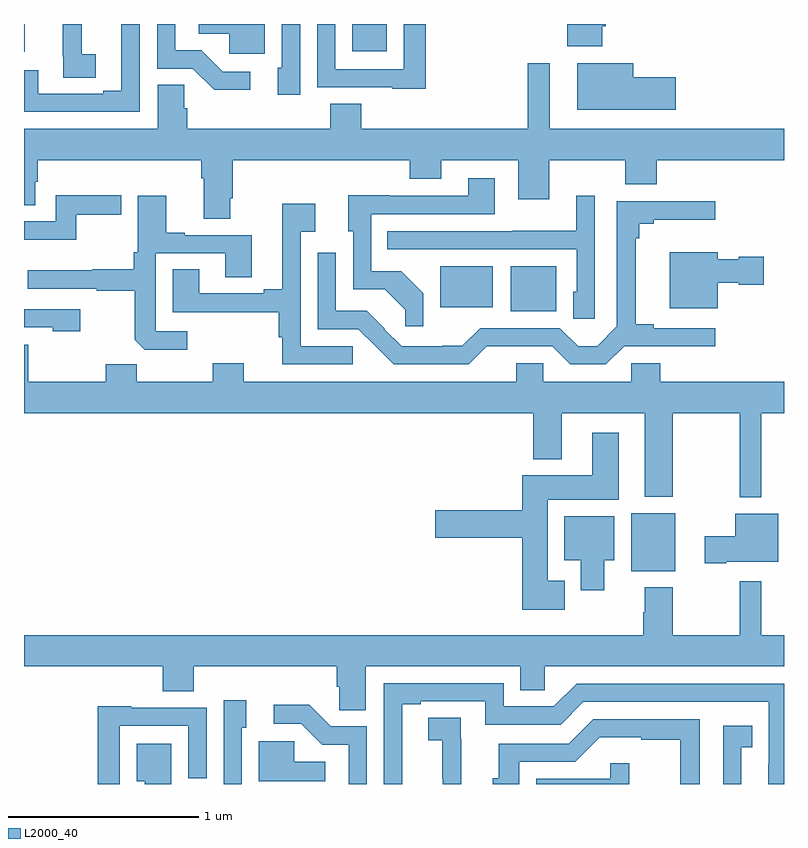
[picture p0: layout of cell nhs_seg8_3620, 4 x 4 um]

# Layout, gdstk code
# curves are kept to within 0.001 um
import gdstk
lib = gdstk.Library(unit=1e-6, precision=1e-09)
def R(c, l, rs):  # rectangles x0, y0, x1, y1
    for r in rs: c.add(gdstk.rectangle(r[:2], r[2:], *l))
def P(c, l, *ps):  # polygons
    for p in ps: c.add(gdstk.Polygon(p, *l))
L2000_40 = (2000, 40)

nhs_seg8_3620 = lib.new_cell('nhs_seg8_3620')
R(nhs_seg8_3620, L2000_40, [(338.195,1097.021,338.428,1097.326), (337.562,1098.389,337.801,1098.625), (337.19,1098.41,337.468,1098.625), (335,1099.755,335.005,1099.9), (336.728,1099.757,336.91,1099.9)])
P(nhs_seg8_3620, L2000_40, [(338.043,1099.888),(338.063,1099.888),(338.063,1099.9),(337.86,1099.9),(337.86,1099.784),(338.043,1099.784)],
  [(337.115,1099.9),(336.999,1099.9),(336.999,1099.662),(336.639,1099.662),(336.639,1099.9),(336.543,1099.9),(336.543,1099.566),(336.939,1099.566),(336.939,1099.559),(337.115,1099.559)],
  [(336.19,1099.65),(336.045,1099.65),(335.934,1099.761),(335.796,1099.761),(335.796,1099.9),(335.7,1099.9),(335.7,1099.665),(335.889,1099.665),(336.002,1099.553),(336.19,1099.553)],
  [(336.268,1099.9),(335.919,1099.9),(335.919,1099.85),(336.081,1099.85),(336.081,1099.743),(336.268,1099.743)],
  [(335.61,1099.9),(335.513,1099.9),(335.513,1099.548),(335.417,1099.548),(335.417,1099.533),(335.076,1099.533),(335.076,1099.656),(335,1099.656),(335,1099.437),(335.61,1099.437)],
  [(336.453,1099.9),(336.357,1099.9),(336.357,1099.671),(336.335,1099.671),(336.335,1099.527),(336.453,1099.527)],
  [(335.377,1099.74),(335.303,1099.74),(335.303,1099.9),(335.204,1099.9),(335.204,1099.729),(335.206,1099.729),(335.206,1099.618),(335.377,1099.618)],
  [(338.431,1099.619),(338.206,1099.619),(338.206,1099.693),(337.913,1099.693),(337.913,1099.448),(338.431,1099.448)],
  [(336.085,1098.982),(336.098,1098.982),(336.098,1099.184),(337.031,1099.184),(337.031,1099.085),(337.195,1099.085),(337.195,1099.184),(337.601,1099.184),(337.601,1098.978),(337.765,1098.978),(337.765,1099.184),(338.165,1099.184),(338.165,1099.056),(338.329,1099.056),(338.329,1099.184),(339,1099.184),(339,1099.348),(337.768,1099.348),(337.768,1099.693),(337.651,1099.693),(337.651,1099.348),(336.776,1099.348),(336.776,1099.481),(336.611,1099.481),(336.611,1099.348),(335.858,1099.348),(335.858,1099.457),(335.844,1099.457),(335.844,1099.58),(335.705,1099.58),(335.705,1099.348),(335,1099.348),(335,1098.946),(335.059,1098.946),(335.059,1099.071),(335.072,1099.071),(335.072,1099.184),(335.933,1099.184),(335.933,1099.088),(335.945,1099.088),(335.945,1098.874),(336.085,1098.874)],
  [(337.101,1098.484),(336.985,1098.6),(336.828,1098.6),(336.828,1098.9),(337.477,1098.9),(337.477,1099.087),(337.337,1099.087),(337.337,1098.996),(336.925,1098.996),(336.925,1098.998),(336.707,1098.998),(336.707,1098.81),(336.732,1098.81),(336.732,1098.504),(336.898,1098.504),(337.006,1098.396),(337.006,1098.309),(337.101,1098.309)],
  [(335.275,1098.895),(335.512,1098.895),(335.512,1098.998),(335.166,1098.998),(335.166,1098.861),(335,1098.861),(335,1098.764),(335.275,1098.764)],
  [(338.004,1098.997),(337.907,1098.997),(337.907,1098.811),(337.573,1098.811),(337.573,1098.81),(336.913,1098.81),(336.913,1098.714),(337.908,1098.714),(337.908,1098.492),(337.892,1098.492),(337.892,1098.349),(338.004,1098.349)],
  [(335.86,1098.282),(335.694,1098.282),(335.694,1098.693),(336.059,1098.693),(336.059,1098.568),(336.199,1098.568),(336.199,1098.789),(335.845,1098.789),(335.845,1098.802),(335.749,1098.802),(335.749,1098.997),(335.598,1098.997),(335.598,1098.7),(335.578,1098.7),(335.578,1098.608),(335.359,1098.608),(335.359,1098.604),(335.019,1098.604),(335.019,1098.507),(335.383,1098.507),(335.383,1098.495),(335.583,1098.495),(335.583,1098.237),(335.635,1098.186),(335.86,1098.186)],
  [(337.436,1098.203),(337.779,1098.204),(337.875,1098.108),(338.062,1098.108),(338.158,1098.204),(338.638,1098.203),(338.638,1098.3),(338.314,1098.3),(338.314,1098.32),(338.219,1098.32),(338.219,1098.773),(338.237,1098.773),(338.237,1098.85),(338.314,1098.85),(338.314,1098.869),(338.638,1098.869),(338.638,1098.968),(338.425,1098.968),(338.425,1098.966),(338.121,1098.966),(338.121,1098.309),(338.017,1098.205),(337.916,1098.205),(337.821,1098.3),(337.401,1098.3),(337.307,1098.206),(337.202,1098.206),(337.202,1098.204),(336.987,1098.204),(336.897,1098.294),(336.899,1098.296),(336.805,1098.39),(336.642,1098.39),(336.642,1098.697),(336.546,1098.697),(336.546,1098.294),(336.759,1098.294),(336.947,1098.108),(337.341,1098.108)],
  [(336.729,1098.204),(336.456,1098.204),(336.456,1098.806),(336.532,1098.806),(336.532,1098.955),(336.359,1098.955),(336.359,1098.503),(336.263,1098.503),(336.263,1098.483),(335.923,1098.483),(335.923,1098.608),(335.783,1098.608),(335.783,1098.382),(336.34,1098.382),(336.34,1098.251),(336.359,1098.251),(336.359,1098.108),(336.729,1098.108)],
  [(338.65,1098.539),(338.763,1098.539),(338.763,1098.527),(338.893,1098.527),(338.893,1098.674),(338.763,1098.674),(338.763,1098.661),(338.65,1098.661),(338.65,1098.7),(338.399,1098.7),(338.399,1098.404),(338.65,1098.404)],
  [(335.296,1098.399),(335,1098.399),(335,1098.303),(335.151,1098.303),(335.151,1098.284),(335.296,1098.284)],
  [(338.348,1098.114),(338.196,1098.114),(338.196,1098.016),(337.734,1098.016),(337.734,1098.114),(337.592,1098.114),(337.592,1098.016),(336.157,1098.016),(336.157,1098.115),(335.993,1098.115),(335.993,1098.016),(335.593,1098.016),(335.593,1098.109),(335.429,1098.109),(335.429,1098.016),(335.023,1098.016),(335.023,1098.211),(335,1098.211),(335,1097.852),(337.679,1097.852),(337.679,1097.609),(337.831,1097.609),(337.831,1097.852),(338.267,1097.852),(338.267,1097.411),(338.415,1097.411),(338.415,1097.852),(338.767,1097.852),(338.767,1097.408),(338.881,1097.408),(338.881,1097.852),(339,1097.852),(339,1098.016),(338.348,1098.016)],
  [(337.846,1096.969),(337.756,1096.969),(337.756,1097.396),(338.131,1097.396),(338.131,1097.749),(337.991,1097.749),(337.991,1097.524),(337.622,1097.524),(337.622,1097.342),(337.164,1097.342),(337.164,1097.195),(337.622,1097.195),(337.622,1096.817),(337.846,1096.817)],
  [(338.695,1097.069),(338.971,1097.069),(338.971,1097.323),(338.744,1097.323),(338.744,1097.204),(338.583,1097.204),(338.583,1097.062),(338.695,1097.062)],
  [(338.053,1097.078),(338.107,1097.078),(338.107,1097.308),(337.844,1097.308),(337.844,1097.078),(337.931,1097.078),(337.931,1096.92),(338.053,1096.92)],
  [(335,1096.52),(335.729,1096.52),(335.729,1096.387),(335.894,1096.387),(335.894,1096.52),(336.647,1096.52),(336.647,1096.411),(336.66,1096.411),(336.66,1096.288),(336.799,1096.288),(336.799,1096.52),(337.613,1096.52),(337.613,1096.393),(337.74,1096.393),(337.74,1096.52),(339,1096.52),(339,1096.684),(338.881,1096.684),(338.881,1096.966),(338.767,1096.966),(338.767,1096.684),(338.415,1096.684),(338.415,1096.936),(338.267,1096.936),(338.267,1096.805),(338.26,1096.805),(338.26,1096.684),(335,1096.684)],
  [(336.991,1096.32),(337.087,1096.32),(337.087,1096.335),(337.428,1096.335),(337.428,1096.212),(337.824,1096.212),(337.944,1096.332),(338.919,1096.332),(338.918,1095.9),(339,1095.9),(339,1096.428),(337.908,1096.428),(337.788,1096.308),(337.524,1096.308),(337.524,1096.431),(336.894,1096.431),(336.894,1095.9),(336.991,1095.9)],
  [(336.147,1096.197),(336.169,1096.197),(336.169,1096.342),(336.051,1096.342),(336.051,1095.9),(336.147,1095.9)],
  [(336.804,1096.203),(336.615,1096.203),(336.502,1096.316),(336.315,1096.316),(336.315,1096.218),(336.459,1096.218),(336.57,1096.107),(336.708,1096.107),(336.708,1095.9),(336.804,1095.9)],
  [(335.505,1096.206),(335.865,1096.206),(335.865,1095.93),(335.961,1095.93),(335.961,1096.302),(335.565,1096.302),(335.565,1096.309),(335.389,1096.309),(335.389,1095.9),(335.505,1095.9)],
  [(337.3,1096.139),(337.298,1096.139),(337.298,1096.25),(337.128,1096.25),(337.128,1096.129),(337.202,1096.129),(337.202,1095.931),(337.203,1095.931),(337.203,1095.9),(337.3,1095.9)],
  [(337.606,1096.017),(337.902,1096.017),(338.03,1096.145),(338.249,1096.145),(338.249,1096.134),(338.455,1096.134),(338.455,1095.9),(338.556,1095.9),(338.556,1096.242),(337.995,1096.242),(337.866,1096.113),(337.499,1096.113),(337.499,1095.93),(337.466,1095.93),(337.466,1095.9),(337.606,1095.9)],
  [(338.776,1096.094),(338.834,1096.094),(338.834,1096.207),(338.679,1096.207),(338.679,1095.9),(338.776,1095.9)],
  [(336.586,1096.018),(336.423,1096.018),(336.423,1096.125),(336.236,1096.125),(336.236,1095.914),(336.586,1095.914)],
  [(335.776,1096.111),(335.594,1096.111),(335.594,1095.914),(335.636,1095.914),(335.636,1095.9),(335.776,1095.9)],
  [(338.186,1096.009),(338.085,1096.009),(338.085,1095.927),(337.695,1095.927),(337.695,1095.9),(338.186,1095.9)])

lib.write_gds('nhs_seg8_3620.gds')
